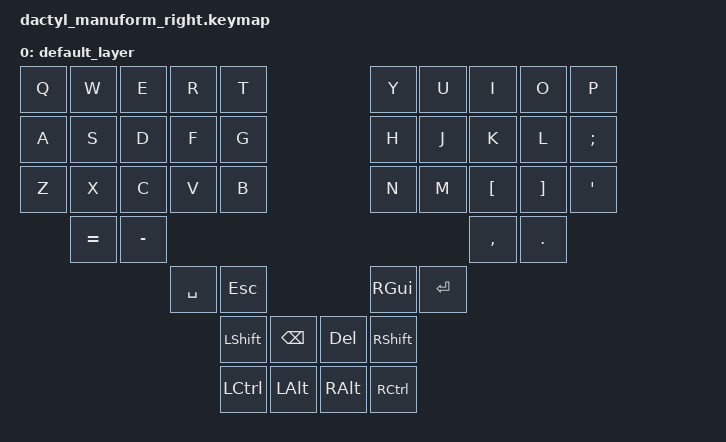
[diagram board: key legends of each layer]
/*
 * Copyright (c) 2020-2021 The ZMK Contributors
 *
 * SPDX-License-Identifier: MIT
 */

#include <behaviors.dtsi>
#include <dt-bindings/zmk/keys.h>
#include <dt-bindings/zmk/bt.h>
#include <dt-bindings/zmk/outputs.h>

/ {

	keymap {
		compatible = "zmk,keymap";

		default_layer {
			bindings = <
			&kp Q	&kp W		&kp E		&kp R		&kp T									&kp Y		&kp U		&kp I		&kp O		&kp P
			&kp A	&kp S		&kp D		&kp F		&kp G									&kp H		&kp J		&kp K		&kp L		&kp SEMI
			&kp Z	&kp X		&kp C		&kp V		&kp B									&kp N		&kp M		&kp LBKT	&kp RBKT	&kp SQT
					&kp EQUAL	&kp MINUS																				&kp COMMA	&kp DOT
											&kp SPACE	&kp ESC									&kp RGUI	&kp ENTER
														&kp LSHFT	&kp BSPC		&kp DEL		&kp RSHFT
														&kp LCTRL	&kp LALT		&kp RALT	&kp RCTRL
			>;
		};
	};
};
